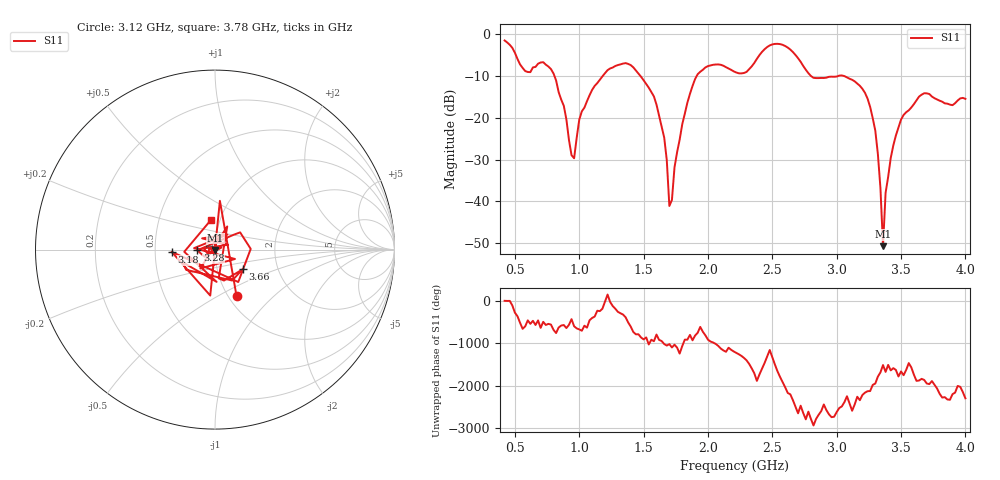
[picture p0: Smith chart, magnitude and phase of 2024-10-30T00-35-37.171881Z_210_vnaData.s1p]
!Created with skrf (http://scikit-rf.org).
# Hz S RI R 50.0
!freq ReS11 ImS11
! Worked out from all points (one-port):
!   180 points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, 420 MHz to 4 GHz, reference 50 ohm
!   lowest |S11| = -50.7 dB at 3.36 GHz (marker M1), VSWR 1.01, Z = 50.1 - j0.276 ohm
!   |S11| at or under -10 dB: 807.4 MHz to 1.182 GHz (374.6 MHz wide, 37.7 % of centre); 1.475 GHz to 1.912 GHz (436.9 MHz wide, 25.8 % of centre); 3.059 GHz to end of sweep (the widest 3 of 4)
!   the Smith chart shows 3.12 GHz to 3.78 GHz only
!   S11 on the Smith chart (normalised r, x): 3.12 GHz: 1.09, -0.62; 3.18 GHz: 0.61, -0.02; 3.28 GHz: 0.82, -0.01; 3.66 GHz: 1.33, -0.30; 3.78 GHz: 0.91, +0.31
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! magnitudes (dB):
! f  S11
! 420 MHz  -1.5
! 580 MHz  -8.8
! 780 MHz  -8.3
! 880 MHz  -17.1
! 960 MHz  -29.7
! 1 GHz  -20.4
! 1.1 GHz  -13.3
! 1.32 GHz  -7.2
! 1.58 GHz  -14.9
! 1.66 GHz  -24.7
! 1.7 GHz  -41.1
! 1.78 GHz  -25.2
! 1.92 GHz  -9.6
! 2.22 GHz  -9.2
! 2.5 GHz  -2.4
! 2.66 GHz  -4.3
! 2.82 GHz  -10.4
! 3.12 GHz  -10.9
! 3.18 GHz  -12.3
! 3.28 GHz  -20.1
! 3.32 GHz  -28.6
! 3.36 GHz  -50.7
! 3.38 GHz  -37.9
! 3.42 GHz  -29.6
! 3.56 GHz  -18.2
! 3.66 GHz  -14.5
! 3.78 GHz  -15.6
! 4 GHz  -15.4
